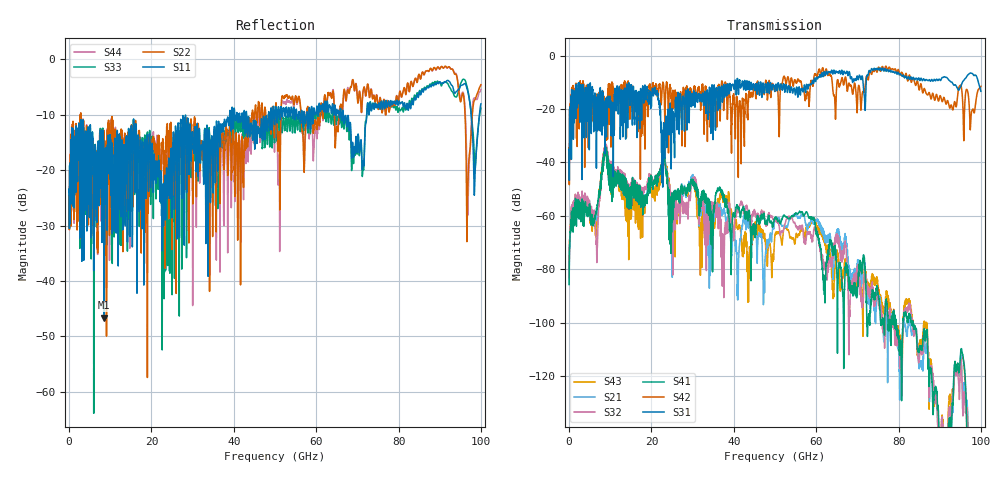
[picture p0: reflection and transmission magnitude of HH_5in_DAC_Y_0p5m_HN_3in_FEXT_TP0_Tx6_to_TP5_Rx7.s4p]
# GHz S RI R 45
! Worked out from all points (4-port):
!   4000 points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, 25 MHz to 100 GHz, reference 45 ohm
!   strongest paths, dB at 25 MHz, 25.02 GHz, 50.02 GHz, 75.03 GHz, 100 GHz:
!     S31: -35.3, -22.0, -12.5, -4.7, -13.3
!     S42: -34.9, -18.5, -12.5, -4.7, -11.5
!     S41: -85.7, -53.4, -60.9, -89.3, -170.6
!     S32: -83.0, -63.0, -61.4, -91.0, -178.7
!     S21: -85.6, -55.6, -61.0, -90.1, -174.5
!     S43: -81.8, -55.1, -67.3, -86.7, -173.5
!   lowest |S11| = -46.6 dB at 8.45 GHz (marker M1), VSWR 1.01, Z = 44.7 - j0.276 ohm
!   |S11| at or under -10 dB: start of sweep to 38.99 GHz; 43.12 GHz to 48.4 GHz (5.275 GHz wide, 11.5 % of centre); 66.6 GHz to 72.29 GHz (5.688 GHz wide, 8.19 % of centre) (the widest 3 of 38)
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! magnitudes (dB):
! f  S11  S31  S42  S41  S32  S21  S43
! 25 MHz  -23.9  -35.3  -34.9  -85.7  -83.0  -85.6  -81.8
! 6.775 GHz  -29.4  -22.5  -20.1  -57.2  -74.4  -60.3  -63.1
! 8.45 GHz  -46.6  -19.8  -16.6  -36.4  -35.2  -36.0  -35.0
! 14.18 GHz  -28.4  -16.4  -10.2  -54.7  -51.5  -53.5  -60.8
! 38.42 GHz  -10.8  -11.7  -23.3  -57.1  -63.9  -61.5  -54.3
! 43.73 GHz  -11.9  -9.7  -14.3  -58.4  -58.6  -62.5  -81.6
! 100 GHz  -8.0  -13.3  -11.5  -170.6  -178.7  -174.5  -173.5
